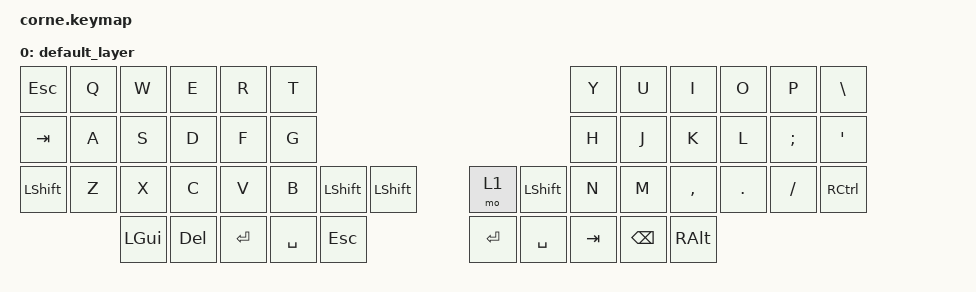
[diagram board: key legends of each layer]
/*
 * Copyright (c) 2020 The ZMK Contributors
 *
 * SPDX-License-Identifier: MIT
 */

#include <behaviors.dtsi>
#include <dt-bindings/zmk/bt.h>
#include <dt-bindings/zmk/keys.h>

/ {
    keymap {
        compatible = "zmk,keymap";

        default_layer {
            // -----------------------------------------------------------------------------------------
            // |  TAB |  Q  |  W  |  E  |  R  |  T  |   |  Y  |  U   |  I  |  O  |  P  | BSPC |
            // | CTRL |  A  |  S  |  D  |  F  |  G  |   |  H  |  J   |  K  |  L  |  ;  |  '   |
            // | SHFT |  Z  |  X  |  C  |  V  |  B  |   |  N  |  M   |  ,  |  .  |  /  | ESC  |
            //                    | GUI | LWR | SPC |   | ENT | RSE  | ALT |

            bindings = <
    &kp ESC   &kp Q &kp W &kp E &kp R &kp T                                                &kp Y &kp U  &kp I     &kp O   &kp P    &kp BSLH
    &kp TAB   &kp A &kp S &kp D &kp F &kp G                                                &kp H &kp J  &kp K     &kp L   &kp SEMI &kp SQT
    &kp LSHFT &kp Z &kp X &kp C &kp V &kp B &kp LSHFT &kp LSHFT        &mo 1    &kp LSHFT  &kp N &kp M  &kp COMMA &kp DOT &kp FSLH &kp RCTRL
                     &kp LGUI &kp DEL &kp RET &kp SPACE &kp ESC        &kp RET  &kp SPACE  &kp TAB &kp BSPC &kp RALT
            >;
        };
    };
};
